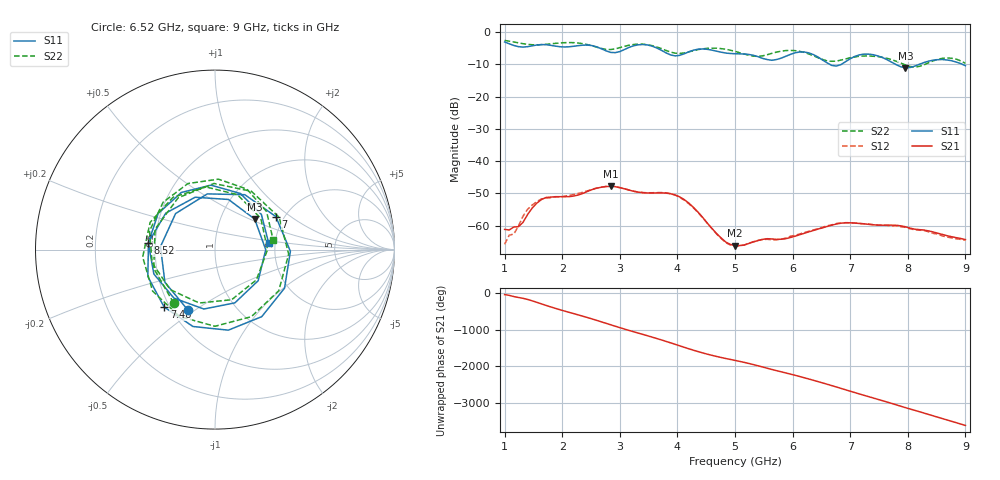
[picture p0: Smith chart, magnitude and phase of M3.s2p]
# Hz S DB R 50
! CMT, C1420, 19038819, 22.4.2/3
! Date: 2023-03-14 09:51:29
! Data: Format (Calibration Info)
! Freq	S11:dB/Ang(F2)	S21:dB/Ang(F2)	S12:dB/Ang(F2)	S22:dB/Ang(F2)
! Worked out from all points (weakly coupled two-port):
!   101 points, 1 GHz to 9 GHz, reference 50 ohm
!   highest |S21| = -47.81 dB at 2.84 GHz (marker M1); lowest = -66.2 dB at 5 GHz (marker M2)
!   lowest |S11| = -11.1 dB at 7.96 GHz (marker M3), VSWR 1.77, Z = 72.5 + j26.8 ohm
!   |S11| at or under -10 dB: 6.646 GHz to 6.847 GHz (200.9 MHz wide, 2.98 % of centre); 7.788 GHz to 8.198 GHz (410.2 MHz wide, 5.13 % of centre); 8.948 GHz to end of sweep
!   |S22| runs from -10.9 to -2.6 dB; largest |S21 - S12| = 0.00054
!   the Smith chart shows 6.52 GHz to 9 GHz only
!   S11 on the Smith chart (normalised r, x): 6.52 GHz: 0.60, -0.47; 7 GHz: 1.81, +0.78; 7.48 GHz: 0.47, -0.37; 8.52 GHz: 0.46, +0.04; 9 GHz: 1.84, +0.15
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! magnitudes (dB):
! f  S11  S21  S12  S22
! 1 GHz  -3.1  -61.1  -65.8  -2.6
! 1.24 GHz  -4.5  -60.3  -60.1  -3.3
! 1.4 GHz  -4.5  -56.5  -54.9  -3.8
! 1.56 GHz  -4.0  -53.0  -52.5  -4.0
! 2.36 GHz  -4.1  -50.0  -49.6  -3.6
! 2.84 GHz  -6.3  -47.8  -47.8  -5.4
! 3.4 GHz  -3.9  -49.8  -49.7  -3.8
! 3.72 GHz  -5.6  -49.9  -49.7  -5.1
! 4.12 GHz  -6.7  -51.9  -52.1  -6.5
! 4.76 GHz  -6.2  -63.8  -64.0  -5.1
! 5 GHz  -6.7  -66.2  -66.4  -5.9
! 5.64 GHz  -8.7  -64.1  -64.4  -6.6
! 6.12 GHz  -6.2  -62.8  -62.6  -6.0
! 6.36 GHz  -7.0  -61.5  -61.4  -7.3
! 6.52 GHz  -8.7  -60.7  -60.5  -8.5
! 6.76 GHz  -10.5  -59.5  -59.3  -9.0
! 7 GHz  -8.3  -59.1  -59.1  -7.9
! 7.48 GHz  -7.4  -59.8  -59.8  -7.6
! 7.72 GHz  -9.3  -59.8  -60.1  -8.5
! 7.96 GHz  -11.1  -60.3  -60.5  -10.2
! 8.52 GHz  -8.5  -62.3  -62.6  -8.4
! 9 GHz  -10.4  -64.3  -64.5  -9.7
